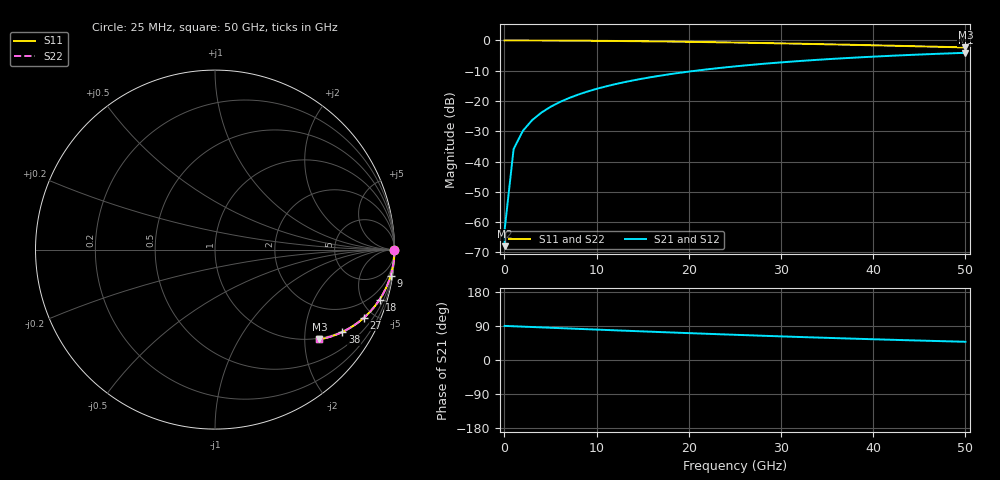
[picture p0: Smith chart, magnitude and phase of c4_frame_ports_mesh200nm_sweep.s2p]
#  GHZ S DB R 50.0
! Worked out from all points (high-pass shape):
!   52 points, 25 MHz to 50 GHz, reference 50 ohm
!   highest |S21| = -4.08 dB at 50 GHz (marker M1); lowest = -67.9 dB at 25 MHz (marker M2)
!   |S21| within 3 dB of the highest: 30.72 GHz to end of sweep
!   lowest |S11| = -2.3 dB at 50 GHz (marker M3), VSWR 7.59, Z = 48.4 - j118 ohm
!   |S11| at or under -10 dB: nowhere
!   |S22| runs from -2.3 to 0.0 dB; largest |S21 - S12| = 1.5e-13
!   S11 on the Smith chart (normalised r, x): 25 MHz: open; 9 GHz: 1, -13; 18 GHz: 0.97, -6.60; 27 GHz: 0.97, -4.39; 38 GHz: 0.97, -3.11; 50 GHz: 0.97, -2.35
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0.025  -0.00 -0.0  -67.92 90.0  -67.92 90.0  -0.00 -0.0
0.05  -0.00 -0.0  -61.90 90.0  -61.90 90.0  -0.00 -0.0
1  -0.00 -1.0  -35.88 89.0  -35.88 89.0  -0.00 -1.0
2  -0.01 -1.9  -29.86 88.0  -29.86 88.0  -0.01 -1.9
3  -0.01 -2.9  -26.34 87.1  -26.34 87.1  -0.01 -2.9
4  -0.02 -3.8  -23.85 86.1  -23.85 86.1  -0.02 -3.8
5  -0.03 -4.8  -21.92 85.1  -21.92 85.1  -0.03 -4.8
6  -0.04 -5.8  -20.35 84.1  -20.35 84.1  -0.04 -5.8
7  -0.06 -6.7  -19.02 83.2  -19.02 83.2  -0.06 -6.7
9  -0.10 -8.6  -16.88 81.2  -16.88 81.2  -0.10 -8.6
11  -0.14 -10.5  -15.18 79.3  -15.18 79.3  -0.14 -10.5
13  -0.20 -12.3  -13.78 77.4  -13.78 77.4  -0.20 -12.3
15  -0.26 -14.2  -12.59 75.5  -12.59 75.5  -0.26 -14.2
17  -0.33 -16.0  -11.58 73.7  -11.58 73.7  -0.33 -16.0
18  -0.37 -16.9  -11.12 72.7  -11.12 72.7  -0.37 -16.9
22  -0.54 -20.4  -9.54 69.1  -9.54 69.1  -0.54 -20.4
26  -0.74 -23.7  -8.28 65.7  -8.28 65.7  -0.74 -23.7
27  -0.79 -24.5  -8.00 64.8  -8.00 64.8  -0.79 -24.5
34  -1.20 -30.0  -6.39 59.2  -6.39 59.2  -1.20 -30.0
38  -1.46 -32.9  -5.67 56.2  -5.67 56.2  -1.46 -32.9
42  -1.73 -35.7  -5.05 53.4  -5.05 53.4  -1.73 -35.6
50  -2.30 -40.7  -4.08 48.1  -4.08 48.1  -2.30 -40.7
